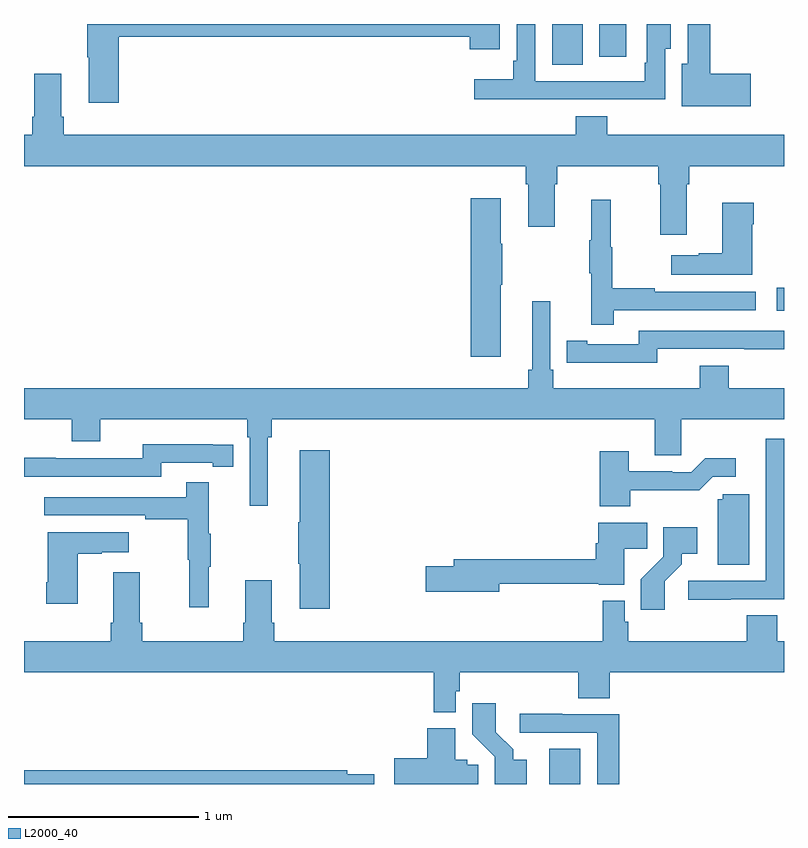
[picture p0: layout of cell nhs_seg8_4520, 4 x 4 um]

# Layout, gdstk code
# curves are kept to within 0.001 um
import gdstk
lib = gdstk.Library(unit=1e-6, precision=1e-09)
def R(c, l, rs):  # rectangles x0, y0, x1, y1
    for r in rs: c.add(gdstk.rectangle(r[:2], r[2:], *l))
def P(c, l, *ps):  # polygons
    for p in ps: c.add(gdstk.Polygon(p, *l))
L2000_40 = (2000, 40)

nhs_seg8_4520 = lib.new_cell('nhs_seg8_4520')
R(nhs_seg8_4520, L2000_40, [(387.764,1127.9,387.928,1128.085), (388.962,1130.391,389,1130.511), (387.779,1131.685,387.94,1131.9), (388.028,1131.728,388.171,1131.9)])
P(nhs_seg8_4520, L2000_40, [(387.787,1131.504),(388.153,1131.504),(388.153,1131.503),(388.374,1131.503),(388.374,1131.769),(388.405,1131.769),(388.405,1131.9),(388.278,1131.9),(388.278,1131.697),(388.266,1131.697),(388.266,1131.6),(387.69,1131.6),(387.69,1131.9),(387.594,1131.9),(387.594,1131.706),(387.574,1131.706),(387.574,1131.61),(387.369,1131.61),(387.369,1131.503),(387.787,1131.503)],
  [(388.825,1131.638),(388.612,1131.638),(388.612,1131.9),(388.493,1131.9),(388.493,1131.691),(388.463,1131.691),(388.463,1131.467),(388.825,1131.467)],
  [(385.499,1131.832),(387.347,1131.832),(387.347,1131.768),(387.505,1131.768),(387.505,1131.9),(385.333,1131.9),(385.333,1131.724),(385.34,1131.724),(385.34,1131.486),(385.499,1131.486)],
  [(388.489,1131.056),(388.502,1131.056),(388.502,1131.152),(389,1131.152),(389,1131.316),(388.07,1131.316),(388.07,1131.415),(387.905,1131.415),(387.905,1131.316),(385.208,1131.316),(385.208,1131.412),(385.195,1131.412),(385.195,1131.637),(385.055,1131.637),(385.055,1131.412),(385.043,1131.412),(385.043,1131.316),(385,1131.316),(385,1131.152),(387.641,1131.152),(387.641,1131.056),(387.653,1131.056),(387.653,1130.832),(387.793,1130.832),(387.793,1131.056),(387.806,1131.056),(387.806,1131.152),(388.337,1131.152),(388.337,1131.056),(388.349,1131.056),(388.349,1130.79),(388.489,1130.79)],
  [(387.508,1130.527),(387.516,1130.527),(387.516,1130.744),(387.508,1130.744),(387.508,1130.983),(387.35,1130.983),(387.35,1130.148),(387.508,1130.148)],
  [(388.103,1130.394),(388.852,1130.394),(388.852,1130.49),(388.319,1130.49),(388.319,1130.51),(388.096,1130.51),(388.096,1130.724),(388.088,1130.724),(388.088,1130.974),(387.986,1130.974),(387.986,1130.761),(387.975,1130.761),(387.975,1130.587),(387.986,1130.587),(387.986,1130.316),(388.103,1130.316)],
  [(388.834,1130.846),(388.842,1130.846),(388.842,1130.959),(388.676,1130.959),(388.676,1130.693),(388.55,1130.693),(388.55,1130.683),(388.407,1130.683),(388.407,1130.579),(388.834,1130.579)],
  [(386.284,1129.724),(386.303,1129.724),(386.303,1129.82),(388.319,1129.82),(388.319,1129.63),(388.458,1129.63),(388.458,1129.82),(389,1129.82),(389,1129.984),(388.709,1129.984),(388.709,1130.101),(388.556,1130.101),(388.556,1129.984),(387.785,1129.984),(387.785,1130.08),(387.771,1130.08),(387.771,1130.44),(387.674,1130.44),(387.674,1130.08),(387.655,1130.08),(387.655,1129.984),(385,1129.984),(385,1129.82),(385.25,1129.82),(385.25,1129.703),(385.402,1129.703),(385.402,1129.82),(386.174,1129.82),(386.174,1129.724),(386.187,1129.724),(386.187,1129.365),(386.284,1129.365)],
  [(388.332,1130.19),(388.792,1130.19),(388.792,1130.189),(389,1130.189),(389,1130.286),(388.236,1130.286),(388.236,1130.214),(387.964,1130.214),(387.964,1130.234),(387.856,1130.234),(387.856,1130.118),(387.964,1130.118),(387.964,1130.117),(388.332,1130.117)],
  [(388.721,1128.873),(389,1128.873),(389,1129.717),(388.905,1129.717),(388.905,1128.969),(388.497,1128.969),(388.497,1128.871),(388.721,1128.871)],
  [(385.722,1129.59),(385.994,1129.59),(385.994,1129.57),(386.102,1129.57),(386.102,1129.686),(385.994,1129.686),(385.994,1129.687),(385.626,1129.687),(385.626,1129.614),(385.166,1129.614),(385.166,1129.616),(385,1129.616),(385,1129.518),(385.722,1129.518)],
  [(386.609,1129.657),(386.45,1129.657),(386.45,1129.277),(386.443,1129.277),(386.443,1129.06),(386.45,1129.06),(386.45,1128.822),(386.609,1128.822)],
  [(388.191,1129.446),(388.553,1129.445),(388.626,1129.518),(388.747,1129.518),(388.747,1129.615),(388.585,1129.615),(388.512,1129.542),(388.412,1129.542),(388.412,1129.545),(388.183,1129.545),(388.183,1129.651),(388.031,1129.651),(388.031,1129.361),(388.191,1129.361)],
  [(385.973,1129.043),(385.984,1129.043),(385.984,1129.217),(385.973,1129.217),(385.973,1129.489),(385.855,1129.489),(385.855,1129.41),(385.107,1129.41),(385.107,1129.314),(385.639,1129.314),(385.639,1129.294),(385.863,1129.294),(385.863,1129.08),(385.87,1129.08),(385.87,1128.831),(385.973,1128.831)],
  [(388.816,1129.425),(388.677,1129.425),(388.677,1129.398),(388.652,1129.398),(388.652,1129.054),(388.816,1129.054)],
  [(387.502,1128.954),(388.026,1128.954),(388.026,1128.95),(388.159,1128.95),(388.159,1129.138),(388.28,1129.138),(388.28,1129.276),(388.022,1129.276),(388.022,1129.166),(388.01,1129.166),(388.01,1129.082),(387.263,1129.082),(387.263,1129.046),(387.114,1129.046),(387.114,1128.911),(387.502,1128.911)],
  [(388.372,1128.967),(388.462,1129.057),(388.462,1129.112),(388.543,1129.112),(388.543,1129.252),(388.365,1129.252),(388.365,1129.097),(388.246,1128.978),(388.246,1128.816),(388.372,1128.816)],
  [(385.282,1129.111),(385.409,1129.111),(385.409,1129.121),(385.552,1129.121),(385.552,1129.225),(385.124,1129.225),(385.124,1128.961),(385.117,1128.961),(385.117,1128.849),(385.282,1128.849)],
  [(387.273,1128.387),(387.293,1128.387),(387.293,1128.488),(387.917,1128.488),(387.917,1128.352),(388.082,1128.352),(388.082,1128.488),(389,1128.488),(389,1128.652),(388.965,1128.652),(388.965,1128.788),(388.805,1128.788),(388.805,1128.652),(388.181,1128.652),(388.181,1128.753),(388.161,1128.753),(388.161,1128.865),(388.045,1128.865),(388.045,1128.652),(386.318,1128.652),(386.318,1128.748),(386.305,1128.748),(386.305,1128.973),(386.165,1128.973),(386.165,1128.748),(386.153,1128.748),(386.153,1128.652),(385.622,1128.652),(385.622,1128.748),(385.609,1128.748),(385.609,1129.015),(385.469,1129.015),(385.469,1128.748),(385.457,1128.748),(385.457,1128.652),(385,1128.652),(385,1128.488),(387.157,1128.488),(387.157,1128.278),(387.273,1128.278)],
  [(387.646,1128.028),(387.574,1128.028),(387.574,1128.083),(387.484,1128.173),(387.484,1128.325),(387.358,1128.325),(387.358,1128.162),(387.477,1128.043),(387.477,1127.9),(387.646,1127.9)],
  [(388.133,1128.267),(387.833,1128.267),(387.833,1128.27),(387.609,1128.27),(387.609,1128.171),(388.017,1128.171),(388.017,1127.9),(388.133,1127.9)],
  [(387.392,1128.002),(387.333,1128.002),(387.333,1128.027),(387.271,1128.027),(387.271,1128.193),(387.122,1128.193),(387.122,1128.036),(386.949,1128.036),(386.949,1127.9),(387.392,1127.9)],
  [(386.844,1127.952),(386.702,1127.952),(386.702,1127.972),(385,1127.972),(385,1127.9),(386.844,1127.9)])

lib.write_gds('nhs_seg8_4520.gds')
